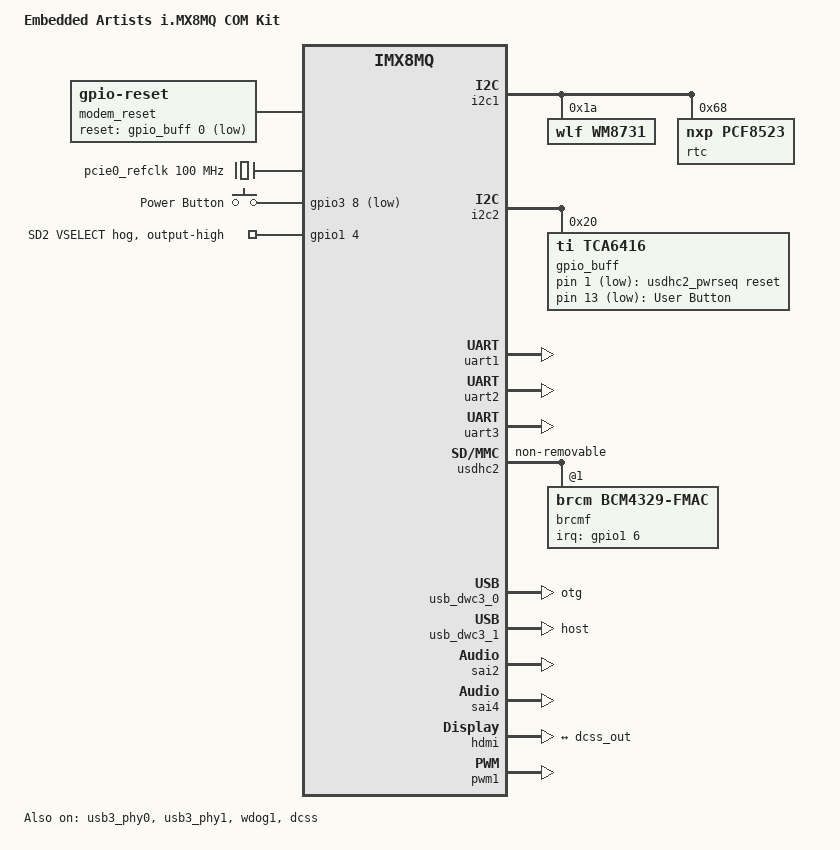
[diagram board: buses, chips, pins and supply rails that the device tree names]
/*
 * Copyright (C) 2016 Freescale Semiconductor, Inc.
 * Copyright 2017 NXP
 *
 * This program is free software; you can redistribute it and/or
 * modify it under the terms of the GNU General Public License
 * as published by the Free Software Foundation; either version 2
 * of the License, or (at your option) any later version.
 *
 * This program is distributed in the hope that it will be useful,
 * but WITHOUT ANY WARRANTY; without even the implied warranty of
 * MERCHANTABILITY or FITNESS FOR A PARTICULAR PURPOSE.  See the
 * GNU General Public License for more details.
 */

/dts-v1/;

#include "imx8mq-ea-com.dtsi"

/ {
	model = "Embedded Artists i.MX8MQ COM Kit ";
	compatible = "fsl,imx8mqea-com", "fsl,imx8mq";

	chosen {
		bootargs = "console=ttymxc0,115200 earlycon=ec_imx6q,0x30860000,115200";
		stdout-path = &uart1;
	};

	regulators {
		compatible = "simple-bus";
		#address-cells = <1>;
		#size-cells = <0>;

		/* add construct for "fmac" to control WL_REG_ON signal */
		usdhc2_pwrseq: usdhc2_pwrseq {
			compatible = "mmc-pwrseq-simple";
			reset-gpios = <&gpio_buff 1 GPIO_ACTIVE_LOW>; /* WL REG ON */
			post-power-on-delay-ms = <120>;
			status = "okay";
		};
	};

	modem_reset: modem-reset {
		compatible = "gpio-reset";
		reset-gpios = <&gpio_buff 0 GPIO_ACTIVE_LOW>;
		reset-delay-us = <1000>;
		#reset-cells = <0>;
	};

	pcie0_refclk: pcie0-refclk {
		compatible = "fixed-clock";
		#clock-cells = <0>;
		clock-frequency = <100000000>;
	};

	sound-wm8731 {
		compatible = "simple-audio-card";
		simple-audio-card,name = "wm8731-audio";
		simple-audio-card,format = "i2s";
		simple-audio-card,frame-master = <&cpudai>;
		simple-audio-card,bitclock-master = <&cpudai>;
		simple-audio-card,widgets =
			"Line", "Left Line Out Jack",
			"Line", "Right Line Out Jack";
		simple-audio-card,routing =
			"Left Line Out Jack", "LOUT",
			"Right Line Out Jack", "ROUT";

		cpudai: simple-audio-card,cpu {
			sound-dai = <&sai2>;
			dai-tdm-slot-num = <2>;
			dai-tdm-slot-width = <32>;
		};

		simple-audio-card,codec {
			sound-dai = <&wm8731>;
			clocks = <&clk IMX8MQ_CLK_SAI2_ROOT>;
		};
	};


	sound-hdmi {
		compatible = "fsl,imx8mq-evk-cdnhdmi",
				"fsl,imx-audio-cdnhdmi";
		model = "imx-audio-hdmi";
		audio-cpu = <&sai4>;
		protocol = <1>;
		hdmi-out;
		constraint-rate = <44100>,
				<88200>,
				<176400>,
				<32000>,
				<48000>,
				<96000>,
				<192000>;
	};

        gpio-keys {
                compatible = "gpio-keys";
                pinctrl-names = "default";
                pinctrl-0 = <&pinctrl_gpio_keys>;

                power {
                        label = "Power Button";
                        gpios = <&gpio3 8 GPIO_ACTIVE_LOW>;
                        gpio-key,wakeup;
                        linux,code = <KEY_POWER>;
                };
		user_btn {
			label = "User Button";
			gpios = <&gpio_buff 13 GPIO_ACTIVE_LOW>;
			linux,code = <103>; /* 103 = numpad 7 */
		};
        };

};

&iomuxc {
	pinctrl-names = "default";
	pinctrl-0 = <&pinctrl_exp_conn>, <&pinctrl_usb1>;

	imx8mqea-com-kit {

		pinctrl_usb1: usb1grp {
			fsl,pins = <
				MX8MQ_IOMUXC_GPIO1_IO12_USB1_OTG_PWR		0x19
				MX8MQ_IOMUXC_GPIO1_IO13_USB1_OTG_OC		0x19
			>;
		};

		pinctrl_pcie0: pcie0grp {
			fsl,pins = <
				MX8MQ_IOMUXC_I2C4_SCL_PCIE1_CLKREQ_B	0x76 /* open drain, pull up */
			>;
		};

		pinctrl_uart1: uart1grp {
			fsl,pins = <
				MX8MQ_IOMUXC_UART1_RXD_UART1_DCE_RX		0x49
				MX8MQ_IOMUXC_UART1_TXD_UART1_DCE_TX		0x49
			>;
		};

		pinctrl_uart2: uart2grp {
			fsl,pins = <
				MX8MQ_IOMUXC_UART2_RXD_UART2_DCE_RX		0x49
				MX8MQ_IOMUXC_UART2_TXD_UART2_DCE_TX		0x49
				MX8MQ_IOMUXC_UART4_TXD_UART2_DCE_RTS_B		0x49
				MX8MQ_IOMUXC_UART4_RXD_UART2_DCE_CTS_B		0x49
			>;
		};

		pinctrl_uart3: uart3grp {
			fsl,pins = <
				MX8MQ_IOMUXC_UART3_TXD_UART3_DCE_TX		0x49
				MX8MQ_IOMUXC_UART3_RXD_UART3_DCE_RX		0x49
			>;
		};

		pinctrl_usdhc2_gpio: usdhc2grpgpio {
			fsl,pins = <
				MX8MQ_IOMUXC_GPIO1_IO06_GPIO1_IO6		0x19
			>;
		};

		pinctrl_usdhc2: usdhc2grp {
			fsl,pins = <
				MX8MQ_IOMUXC_SD2_CLK_USDHC2_CLK			0x83
				MX8MQ_IOMUXC_SD2_CMD_USDHC2_CMD			0xc3
				MX8MQ_IOMUXC_SD2_DATA0_USDHC2_DATA0		0xc3
				MX8MQ_IOMUXC_SD2_DATA1_USDHC2_DATA1		0xc3
				MX8MQ_IOMUXC_SD2_DATA2_USDHC2_DATA2		0xc3
				MX8MQ_IOMUXC_SD2_DATA3_USDHC2_DATA3		0xc3
				/*MX8MQ_IOMUXC_GPIO1_IO04_USDHC2_VSELECT          0xc1*/
				MX8MQ_IOMUXC_GPIO1_IO04_GPIO1_IO4               0xc1
			>;
		};

		pinctrl_usdhc2_100mhz: usdhc2grp100mhz {
			fsl,pins = <
				MX8MQ_IOMUXC_SD2_CLK_USDHC2_CLK			0x8d
				MX8MQ_IOMUXC_SD2_CMD_USDHC2_CMD			0xcd
				MX8MQ_IOMUXC_SD2_DATA0_USDHC2_DATA0		0xcd
				MX8MQ_IOMUXC_SD2_DATA1_USDHC2_DATA1		0xcd
				MX8MQ_IOMUXC_SD2_DATA2_USDHC2_DATA2		0xcd
				MX8MQ_IOMUXC_SD2_DATA3_USDHC2_DATA3		0xcd
				/*MX8MQ_IOMUXC_GPIO1_IO04_USDHC2_VSELECT          0xc1*/
				MX8MQ_IOMUXC_GPIO1_IO04_GPIO1_IO4               0xc1
			>;
		};

		pinctrl_usdhc2_200mhz: usdhc2grp200mhz {
			fsl,pins = <
				MX8MQ_IOMUXC_SD2_CLK_USDHC2_CLK			0x9f
				MX8MQ_IOMUXC_SD2_CMD_USDHC2_CMD			0xdf
				MX8MQ_IOMUXC_SD2_DATA0_USDHC2_DATA0		0xdf
				MX8MQ_IOMUXC_SD2_DATA1_USDHC2_DATA1		0xdf
				MX8MQ_IOMUXC_SD2_DATA2_USDHC2_DATA2		0xdf
				MX8MQ_IOMUXC_SD2_DATA3_USDHC2_DATA3		0xdf
				/*MX8MQ_IOMUXC_GPIO1_IO04_USDHC2_VSELECT          0xc1*/
				MX8MQ_IOMUXC_GPIO1_IO04_GPIO1_IO4               0xc1
			>;
		};

		pinctrl_sai2: sai2grp {
			fsl,pins = <
				MX8MQ_IOMUXC_SAI2_TXFS_SAI2_TX_SYNC	0xd6
				MX8MQ_IOMUXC_SAI2_TXC_SAI2_TX_BCLK	0xd6
				MX8MQ_IOMUXC_SAI2_MCLK_SAI2_MCLK	0xd6
				MX8MQ_IOMUXC_SAI2_TXD0_SAI2_TX_DATA0	0xd6
				MX8MQ_IOMUXC_SAI2_RXD0_SAI2_RX_DATA0	0xd6
			>;
		};

		pinctrl_wdog: wdoggrp {
			fsl,pins = <
				MX8MQ_IOMUXC_GPIO1_IO02_WDOG1_WDOG_B 0xc6
			>;
		};

		pinctrl_gpio_keys: gpio_keysgrp {
			fsl,pins = <
				MX8MQ_IOMUXC_NAND_DATA02_GPIO3_IO8		0xC7
			>;
		};

		pinctrl_pwm1: pwm1grp {
			fsl,pins = <
				MX8MQ_IOMUXC_SPDIF_EXT_CLK_PWM1_OUT		0xC3
			>;
		};

		/* Expansion Board */
		pinctrl_exp_conn: expconngrp {
			fsl,pins = <
				MX8MQ_IOMUXC_I2C4_SDA_GPIO5_IO21	0xC6	/* GPIO_H */
										/* GPIO_J Not Connected */
				/*MX8MQ_IOMUXC_GPIO1_IO00_GPIO1_IO0	0xC6       GPIO_K shared with SD1_VSELECT */
				MX8MQ_IOMUXC_NAND_READY_B_GPIO3_IO16	0xC6	/* GPIO_P */
				MX8MQ_IOMUXC_NAND_ALE_GPIO3_IO0		0xC6	/* GPIO_Q */
				MX8MQ_IOMUXC_NAND_CE0_B_GPIO3_IO1	0xC6	/* GPIO_R */
				MX8MQ_IOMUXC_NAND_CE1_B_GPIO3_IO2	0xC6	/* GPIO_S */
				MX8MQ_IOMUXC_NAND_DATA00_GPIO3_IO6	0xC6	/* GPIO_T */
				MX8MQ_IOMUXC_NAND_DATA01_GPIO3_IO7	0xC6	/* GPIO_U */
				/*MX8MQ_IOMUXC_NAND_DATA02_GPIO3_IO8	0xC6	   GPIO_V shared with powerkey */
				MX8MQ_IOMUXC_NAND_DATA03_GPIO3_IO9	0xC6	/* GPIO_W */
				MX8MQ_IOMUXC_NAND_DQS_GPIO3_IO14	0xC6	/* GPIO_X */
				MX8MQ_IOMUXC_NAND_CLE_GPIO3_IO5		0xC6	/* GPIO_Y */
				MX8MQ_IOMUXC_NAND_CE2_B_GPIO3_IO3	0xC6	/* GPIO_Z */
				MX8MQ_IOMUXC_NAND_CE3_B_GPIO3_IO4	0xC6	/* GPIO_AA */
				MX8MQ_IOMUXC_NAND_DATA04_GPIO3_IO10	0xC6	/* GPIO_AB */
				MX8MQ_IOMUXC_NAND_DATA05_GPIO3_IO11	0xC6	/* GPIO_AC */
				MX8MQ_IOMUXC_NAND_DATA06_GPIO3_IO12	0xC6	/* GPIO_AD */
				MX8MQ_IOMUXC_NAND_DATA07_GPIO3_IO13	0xC6	/* GPIO_AE */
				MX8MQ_IOMUXC_NAND_RE_B_GPIO3_IO15	0xC6	/* GPIO_AF */
				/*MX8MQ_IOMUXC_GPIO1_IO02_GPIO1_IO2	0xC6	   GPIO_AG shared with PMIC WDOG */
				/*MX8MQ_IOMUXC_GPIO1_IO03_GPIO1_IO3	0xC6	   GPIO_AH shared with PMIC IRQ */
				/*MX8MQ_IOMUXC_GPIO1_IO09_GPIO1_IO9	0xC6	   GPIO_AJ shared with ENET RST */
				/*MX8MQ_IOMUXC_GPIO1_IO10_GPIO1_IO10	0xC6	   GPIO_AK shared with ENET WOL_INT */
				/*MX8MQ_IOMUXC_GPIO1_IO11_GPIO1_IO11	0xC6	   GPIO_AL shared with ENET INT */
										/* GPIO_AP Not Connected */
										/* GPIO_AQ CLK_32K */
										/* GPIO_AR POR_B */
										/* GPIO_AS RTC_RESET_B */
										/* GPIO_AT PMIC_ON_REQ */
										/* GPIO_AU PMIC_STBY_REQ */
				/*MX8MQ_IOMUXC_GPIO1_IO04_GPIO1_IO4	0xC6	   GPIO_AV shared with PMIC SD_VSEL */
			>;
		};


	};
};

&i2c1 {

	wm8731: wm8731@1a {
		#sound-dai-cells = <0>;
		compatible = "wlf,wm8731";
		reg = <0x1a>;
		clocks = <&clk IMX8MQ_CLK_SAI2_ROOT>;
		clock-names = "mclk";
	};

	rtc: pcf8523@68 {
		compatible = "nxp,pcf8523";
		reg = <0x68>;
	};

};

&i2c2 {
	gpio_buff: pca6416@20 {
		compatible = "ti,tca6416";
		reg = <0x20>;
		gpio-controller;
		#gpio-cells = <2>;
		gpio-line-names = "BT_REG_ON", "WL_REG_ON", "VBAT_VSEL",
			"BT_DEV_WAKE", "", "AUD_CODEC_MUX_CTRL1",
			"VDDIO_VSEL", "PCIE_PERST_L", "",
			"DIR_WL_DEV_WAKE", "PCIE_CLK_MUX_CTRL", "AUD_CODEC_MUX_CTRL2",
			"DIR_BT_AUD_WS_CLK", "USER_BTN", "USER_LED1", "USER_LED2";

		hog_VBAT_VSEL {
			gpio-hog;
			gpios = <2 0>;
			output-low; /* LOW = 3.3V, HIGH = 3.6V */
		};
		hog_AUD_CODEC_MUX_CTRL1 {
			gpio-hog;
			gpios = <5 0>;
			output-low;
		};
		hog_VDDIO_VSEL {
			gpio-hog;
			gpios = <6 0>;
			output-low; /* LOW = 1.8V, HIGH = 3.3V */
		};
		hog_DIR_WL_DEV_WAKE {
			gpio-hog;
			gpios = <9 0>;
			output-low;
		};
		hog_PCIE_CLK_MUX_CTRL {
			gpio-hog;
			gpios = <10 0>;
			output-low; /* LOW = External Reference Clock, HIGH = i.MX Generated Clock */
		};
		hog_AUD_CODEC_MUX_CTRL2 {
			gpio-hog;
			gpios = <11 0>;
			output-low;
		};
	};

};
 
&pcie0{
	pinctrl-names = "default";
	pinctrl-0 = <&pinctrl_pcie0>;
	reset-gpio = <&gpio_buff 7 GPIO_ACTIVE_LOW>;   /* PCIE_PERST_L */
	disable-gpio = <&gpio_buff 1 GPIO_ACTIVE_LOW>; /* WL REG ON */
	clocks = <&clk IMX8MQ_CLK_PCIE1_ROOT>,
		 <&clk IMX8MQ_CLK_PCIE1_AUX>,
		 <&clk IMX8MQ_CLK_PCIE1_PHY>,
		 <&pcie0_refclk>;
	clock-names = "pcie", "pcie_aux", "pcie_phy", "pcie_bus";
	hard-wired = <1>;
	status = "disabled";
};


&uart1 { /* console */
	pinctrl-names = "default";
	pinctrl-0 = <&pinctrl_uart1>;
	assigned-clocks = <&clk IMX8MQ_CLK_UART1>;
	assigned-clock-parents = <&clk IMX8MQ_CLK_25M>;
	status = "okay";
};

&uart2 { /* Bluetooth UART */
	pinctrl-names = "default";
	pinctrl-0 = <&pinctrl_uart2>;
	assigned-clocks = <&clk IMX8MQ_CLK_UART2>;
	assigned-clock-parents = <&clk IMX8MQ_SYS1_PLL_80M>;
	fsl,uart-has-rtscts;
	resets = <&modem_reset>;
	status = "okay";
};

&uart3 { 
	pinctrl-names = "default";
	pinctrl-0 = <&pinctrl_uart3>;
	assigned-clocks = <&clk IMX8MQ_CLK_UART3>;
	assigned-clock-parents = <&clk IMX8MQ_SYS1_PLL_80M>;
	status = "okay";
};

&usdhc2 {
	#address-cells = <1>;
	#size-cells = <0>;
	pinctrl-names = "default", "state_100mhz", "state_200mhz";
	pinctrl-0 = <&pinctrl_usdhc2>, <&pinctrl_usdhc2_gpio>;
	pinctrl-1 = <&pinctrl_usdhc2_100mhz>, <&pinctrl_usdhc2_gpio>;
	pinctrl-2 = <&pinctrl_usdhc2_200mhz>, <&pinctrl_usdhc2_gpio>;
	keep-power-in-suspend;
	non-removable;
	pm-ignore-notify;
	cap-power-off;
	mmc-pwrseq = <&usdhc2_pwrseq>;
	status = "okay";
	brcmf: bcrmf@1 {
		reg = <1>;
		compatible = "brcm,bcm4329-fmac";
		interrupt-parent = <&gpio1>;
		interrupts = <6 IRQ_TYPE_LEVEL_LOW>;  /* WL_HOST_WAKE */
		interrupt-names = "host-wake";	
	};
};

&gpio1 {
	/* Murata - This hog forces SD2_VSELECT high; SD2 VIO = 1.8V */
	sd1_vselect_gpio {
		gpio-hog;
		gpios = <4 GPIO_ACTIVE_HIGH>;
		output-high;
		line-name = "SD2 VSELECT";
	};
};

&usb3_phy0 {
	status = "okay";
};

&usb_dwc3_0 {
	dr_mode = "otg";
	hnp-disable;
	srp-disable;
	adp-disable;
	usb-role-switch;
	snps,dis-u1-entry-quirk;
	snps,dis-u2-entry-quirk;
	status = "okay";
};

&usb3_phy1 {
	status = "okay";
};

&usb_dwc3_1 {
	status = "okay";
	dr_mode = "host";
};

&sai2 {
	#sound-dai-cells = <0>;
	pinctrl-names = "default";
	pinctrl-0 = <&pinctrl_sai2>;
	assigned-clocks = <&clk IMX8MQ_CLK_SAI2>;
	assigned-clock-parents = <&clk IMX8MQ_AUDIO_PLL2_OUT>;
	assigned-clock-rates = <11289600>;
	status = "okay";
};

&sai4 {
	assigned-clocks = <&clk IMX8MQ_CLK_SAI4>;
	assigned-clock-parents = <&clk IMX8MQ_AUDIO_PLL1_OUT>;
	assigned-clock-rates = <24576000>;
	clocks = <&clk IMX8MQ_CLK_SAI4_IPG>, <&clk IMX8MQ_CLK_DUMMY>,
		<&clk IMX8MQ_CLK_SAI4_ROOT>, <&clk IMX8MQ_CLK_DUMMY>,
		<&clk IMX8MQ_CLK_DUMMY>, <&clk IMX8MQ_AUDIO_PLL1_OUT>,
		<&clk IMX8MQ_AUDIO_PLL2_OUT>;
	clock-names = "bus", "mclk0", "mclk1", "mclk2", "mclk3", "pll8k", "pll11k";
	status = "okay";
};

&wdog1 {
	pinctrl-names = "default";
	pinctrl-0 = <&pinctrl_wdog>;
	fsl,ext-reset-output;
	status = "okay";
};

&dcss {
	status = "okay";

	port@0 {
		dcss_out: endpoint {
			remote-endpoint = <&hdmi_in>;
		};
	};
};

&hdmi {
	compatible = "cdn,imx8mq-hdmi";
	lane-mapping = <0xe4>;
	status = "okay";
	port@1 {
		hdmi_in: endpoint {
			remote-endpoint = <&dcss_out>;
		};
	};
};

&pwm1 {
	pinctrl-names = "default";
	pinctrl-0 = <&pinctrl_pwm1>;
	status = "okay";
};
